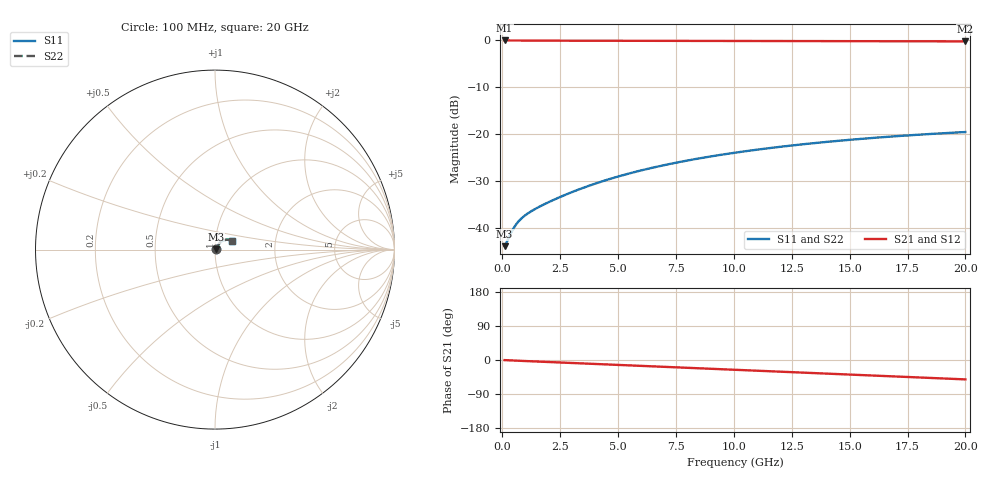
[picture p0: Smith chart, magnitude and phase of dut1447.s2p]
! Touchstone file exported from HFSS 2026.1.0
!  File:  C:/ffzhzh/LocalFiles/Ansys_Project_Files/temp_train_BSMRDL_1447_1783180650_18472.aedt
!  Generated:  11:58:45 PM Jul  4, 2026
!  Design:  BSMRDL
!  Project:  temp_train_BSMRDL_1447_1783180650_18472
! Variables:
!  h_bsmrdl = 2.06um
!  h_ox = 20um
!  h_rdl = 5um
!  h_sub = 80um
!  h_tmrdl = 5um
!  h_tsv = 80um
!  h_via = 3um
!  l_bsmrdl = 897.22um
!  l_sub = 1297.22um
!  l_tmrdl = 200um
!  m_sub = 200um
!  pitch = 31.18um
!  r_tsv = 6um
!  s_tmrdl = 10um
!  w_bsmrdl = 26.09um
!  w_sub = 500um
!  w_tmrdl = 12um
!  x_tsv_center1 = 206um
!  x_tsv_center2 = 1129.31um
!  x_tsv_center3 = 1341.31um
!  x_tsv_center4 = 2264.62um
!  x_tsv_center5 = 2476.62um
!  x_tsv_center6 = 3399.93um
# GHz S MA R 50.000000
! Terminal data exported
! Port[1] = BSM_RDL1_1_T1
! Port[2] = BSM_RDL1_1_T2
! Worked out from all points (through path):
!   200 points, 100 MHz to 20 GHz, reference 50 ohm
!   highest |S21| = -0.05 dB at 100 MHz (marker M1); lowest = -0.3 dB at 20 GHz (marker M2)
!   group delay of S21, straight-line fit = 7.09 ps
!   lowest |S11| = -43.8 dB at 100 MHz (marker M3), VSWR 1.01, Z = 50.6 + j0.146 ohm
!   |S11| at or under -10 dB: start of sweep to end of sweep
!   |S22| runs from -43.8 to -19.5 dB; largest |S21 - S12| = 2.7e-15
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0.1  0.006462 12.9  0.9937 -0.3  0.9937 -0.3  0.006462 12.9
! Gamma 0 0 0 0
! Port Impedance 50 0 50 0
0.2  0.007201 22.8  0.9934 -0.6  0.9934 -0.6  0.007201 22.8
0.4  0.009186 33.1  0.9924 -1.2  0.9924 -1.2  0.009186 33.1
0.5  0.01016 35.4  0.9918 -1.5  0.9918 -1.5  0.01015 35.4
0.6  0.01104 36.9  0.9913 -1.7  0.9913 -1.7  0.01104 36.9
0.7  0.01184 37.9  0.9909 -2.0  0.9909 -2.0  0.01184 37.9
0.8  0.01256 38.7  0.9905 -2.2  0.9905 -2.2  0.01255 38.7
1  0.01382 40.1  0.9899 -2.8  0.9899 -2.8  0.01381 40.1
1.4  0.01596 42.9  0.989 -3.8  0.989 -3.8  0.01596 42.9
2  0.01897 47.0  0.9884 -5.3  0.9884 -5.3  0.01896 47.0
2.7  0.0226 50.7  0.9878 -7.1  0.9878 -7.1  0.02259 50.7
3.5  0.02698 53.4  0.9873 -9.2  0.9873 -9.2  0.02697 53.4
4.3  0.03152 54.8  0.9868 -11.2  0.9868 -11.2  0.0315 54.9
5.1  0.03612 55.3  0.9862 -13.3  0.9862 -13.3  0.0361 55.4
5.9  0.04073 55.2  0.9856 -15.3  0.9856 -15.3  0.0407 55.3
6.8  0.04588 54.5  0.9849 -17.7  0.9849 -17.7  0.04585 54.6
8.4  0.05484 52.4  0.9834 -21.8  0.9834 -21.8  0.0548 52.6
10.1  0.06396 49.5  0.9818 -26.1  0.9818 -26.1  0.06391 49.7
11.7  0.07209 46.3  0.9802 -30.2  0.9802 -30.2  0.07204 46.5
13.4  0.0802 42.6  0.9783 -34.5  0.9783 -34.5  0.08013 42.9
16.7  0.09419 35.1  0.9748 -42.9  0.9748 -42.9  0.09409 35.4
20  0.1056 27.4  0.9714 -51.2  0.9714 -51.2  0.1055 27.8
